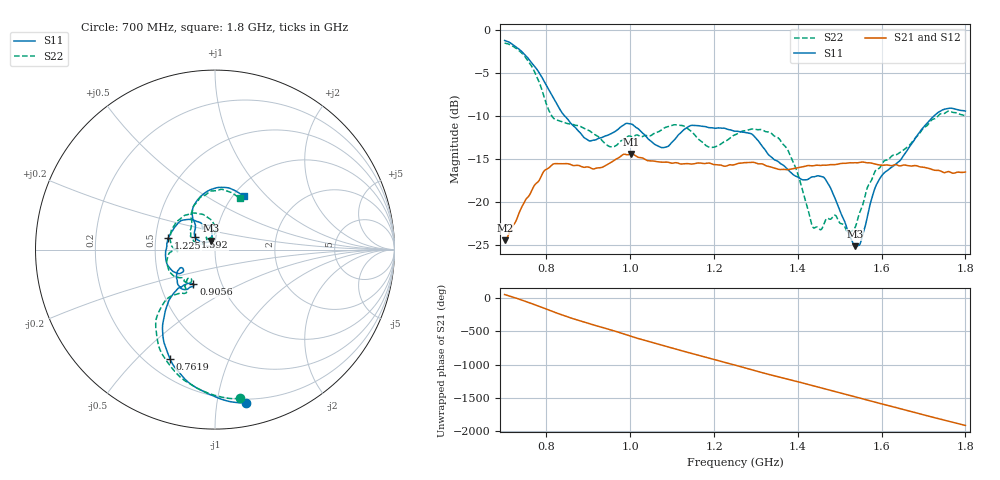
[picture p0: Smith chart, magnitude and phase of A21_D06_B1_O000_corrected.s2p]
! Created with skrf 1.9.0 (http://scikit-rf.org).
# Hz S RI R 50.0
!freq ReS11 ImS11 ReS21 ImS21 ReS12 ImS12 ReS22 ImS22
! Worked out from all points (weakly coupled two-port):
!   1601 points, 700 MHz to 1.8 GHz, reference 50 ohm
!   highest |S21| = -14.40 dB at 1.002 GHz (marker M1); lowest = -24.5 dB at 700.7 MHz (marker M2)
!   lowest |S11| = -25.1 dB at 1.537 GHz (marker M3), VSWR 1.12, Z = 47.4 + j4.75 ohm
!   |S11| at or under -10 dB: 843.7 MHz to 1.725 GHz (880.9 MHz wide, 68.6 % of centre)
!   |S22| runs from -23.6 to -1.5 dB; largest |S21 - S12| = 0.0034
!   S11 on the Smith chart (normalised r, x): 700 MHz: 0.17, -1.21; 761.9 MHz: 0.29, -0.63; 905.6 MHz: 0.73, -0.30; 1.225 GHz: 0.58, +0.08; 1.592 GHz: 0.79, +0.11; 1.8 GHz: 1.12, +0.75
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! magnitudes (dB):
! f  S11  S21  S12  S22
! 700 MHz  -1.2  -24.4  -24.2  -1.5
! 700.7 MHz  -1.2  -24.5  -24.2  -1.5
! 761.9 MHz  -3.6  -19.0  -18.9  -4.0
! 814.8 MHz  -7.7  -15.6  -15.7  -10.1
! 883.6 MHz  -12.1  -15.9  -15.8  -11.3
! 905.6 MHz  -12.9  -16.0  -16.0  -11.8
! 954.4 MHz  -12.0  -15.4  -15.4  -13.6
! 1.002 GHz  -10.9  -14.4  -14.5  -12.4
! 1.067 GHz  -13.5  -15.3  -15.3  -11.8
! 1.145 GHz  -11.1  -15.6  -15.6  -11.7
! 1.225 GHz  -11.4  -15.8  -15.8  -12.9
! 1.25 GHz  -11.8  -15.6  -15.6  -12.2
! 1.357 GHz  -15.4  -16.2  -16.1  -12.7
! 1.394 GHz  -17.0  -16.1  -16.0  -16.0
! 1.434 GHz  -17.1  -15.8  -15.7  -22.7
! 1.469 GHz  -17.6  -15.7  -15.7  -21.9
! 1.537 GHz  -25.1  -15.4  -15.4  -23.0
! 1.551 GHz  -24.5  -15.4  -15.4  -20.8
! 1.592 GHz  -17.6  -15.7  -15.6  -16.1
! 1.617 GHz  -16.2  -15.7  -15.7  -15.0
! 1.733 GHz  -9.7  -16.3  -16.3  -10.1
! 1.8 GHz  -9.4  -16.5  -16.5  -10.0
